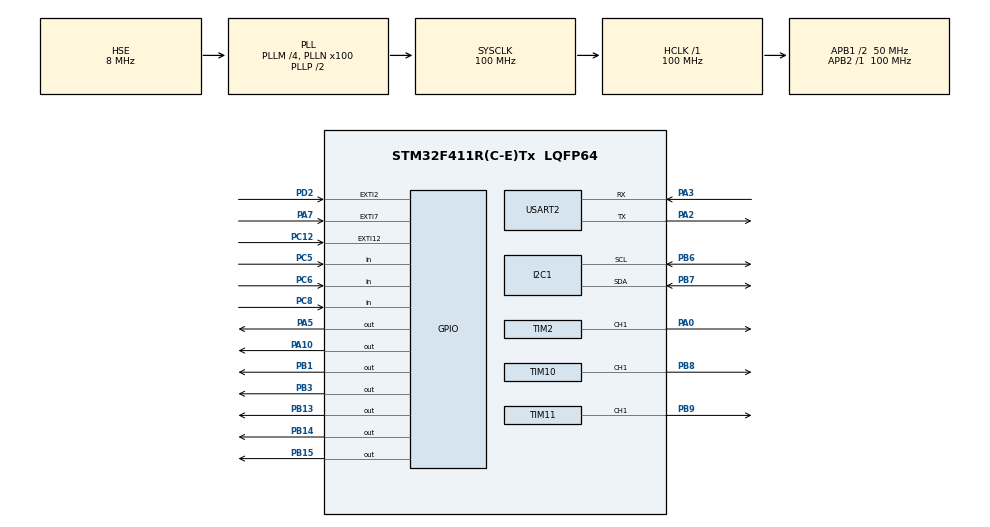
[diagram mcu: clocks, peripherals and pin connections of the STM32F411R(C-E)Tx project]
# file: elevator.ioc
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Mcu.Family=STM32F4
Mcu.Name=STM32F411R(C-E)Tx
Mcu.Package=LQFP64
NVIC.EXTI15_10_IRQn=true\:0\:0\:false\:false\:true\:true\:true\:true
NVIC.EXTI2_IRQn=true\:0\:0\:false\:false\:true\:true\:true\:true
NVIC.EXTI9_5_IRQn=true\:0\:0\:false\:false\:true\:true\:true\:true
NVIC.PriorityGroup=NVIC_PRIORITYGROUP_4
NVIC.TIM1_TRG_COM_TIM11_IRQn=true\:0\:0\:false\:false\:true\:true\:true\:true
NVIC.TIM1_UP_TIM10_IRQn=true\:0\:0\:false\:false\:true\:true\:true\:true
NVIC.TIM2_IRQn=true\:0\:0\:false\:false\:true\:true\:true\:true
NVIC.USART2_IRQn=true\:0\:0\:false\:false\:true\:true\:true\:true
PA0-WKUP.Signal=S_TIM2_CH1_ETR
PA10.Signal=GPIO_Output
PA13.Mode=Serial_Wire
PA13.Signal=SYS_JTMS-SWDIO
PA14.Mode=Serial_Wire
PA14.Signal=SYS_JTCK-SWCLK
PA2.Mode=Asynchronous
PA2.Signal=USART2_TX
PA3.Mode=Asynchronous
PA3.Signal=USART2_RX
PA5.Signal=GPIO_Output
PA7.GPIO_ModeDefaultEXTI=GPIO_MODE_IT_RISING_FALLING
PA7.Signal=GPXTI7
PB1.GPIO_Speed=GPIO_SPEED_FREQ_HIGH
PB1.Signal=GPIO_Output
PB13.GPIO_Speed=GPIO_SPEED_FREQ_HIGH
PB13.Signal=GPIO_Output
PB14.GPIO_Speed=GPIO_SPEED_FREQ_HIGH
PB14.Signal=GPIO_Output
PB15.GPIO_Speed=GPIO_SPEED_FREQ_HIGH
PB15.Signal=GPIO_Output
PB3.Signal=GPIO_Output
PB6.Mode=I2C
PB6.Signal=I2C1_SCL
PB7.Mode=I2C
PB7.Signal=I2C1_SDA
PB8.Signal=S_TIM10_CH1
PB9.Signal=S_TIM11_CH1
PC12.GPIO_ModeDefaultEXTI=GPIO_MODE_IT_RISING_FALLING
PC12.Signal=GPXTI12
PC5.Signal=GPIO_Input
PC6.Signal=GPIO_Input
PC8.Signal=GPIO_Input
PD2.GPIO_ModeDefaultEXTI=GPIO_MODE_IT_RISING_FALLING
PD2.Signal=GPXTI2
PH0\ -\ OSC_IN.Mode=HSE-External-Oscillator
PH0\ -\ OSC_IN.Signal=RCC_OSC_IN
PH1\ -\ OSC_OUT.Mode=HSE-External-Oscillator
PH1\ -\ OSC_OUT.Signal=RCC_OSC_OUT
ProjectManager.HeapSize=0x200
ProjectManager.StackSize=0x400
ProjectManager.TargetToolchain=STM32CubeIDE
RCC.48MHZClocksFreq_Value=50000000
RCC.AHBFreq_Value=100000000
RCC.APB1CLKDivider=RCC_HCLK_DIV2
RCC.APB1Freq_Value=50000000
RCC.APB1TimFreq_Value=100000000
RCC.APB2Freq_Value=100000000
RCC.APB2TimFreq_Value=100000000
RCC.CortexFreq_Value=100000000
RCC.HCLKFreq_Value=100000000
RCC.HSE_VALUE=8000000
RCC.HSI_VALUE=16000000
RCC.LSE_VALUE=32768
RCC.PLLM=4
RCC.PLLN=100
RCC.PLLSourceVirtual=RCC_PLLSOURCE_HSE
RCC.SYSCLKFreq_VALUE=100000000
RCC.SYSCLKSource=RCC_SYSCLKSOURCE_PLLCLK
RCC.VCOOutputFreq_Value=200000000
SH.S_TIM10_CH1.0=TIM10_CH1,PWM Generation1 CH1
SH.S_TIM11_CH1.0=TIM11_CH1,PWM Generation1 CH1
SH.S_TIM2_CH1_ETR.0=TIM2_CH1,PWM Generation1 CH1
TIM10.Channel=TIM_CHANNEL_1
TIM10.Period=5000-1
TIM10.Prescaler=8400-1
TIM11.Channel=TIM_CHANNEL_1
TIM11.Period=1000-1
TIM11.Prescaler=84-1
TIM2.Channel-PWM\ Generation1\ CH1=TIM_CHANNEL_1
TIM2.Period=2000-1
TIM2.Prescaler=1000-1
USART2.VirtualMode=VM_ASYNC
VP_TIM10_VS_ClockSourceINT.Mode=Enable_Timer
VP_TIM11_VS_ClockSourceINT.Mode=Enable_Timer
VP_TIM2_VS_ClockSourceINT.Mode=Internal
board=custom

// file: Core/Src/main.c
/* USER CODE BEGIN Header */
/**
 ******************************************************************************
 * @file           : main.c
 * @brief          : Main program body
 ******************************************************************************
 * @attention
 *
 * Copyright (c) 2025 STMicroelectronics.
 * All rights reserved.
 *
 * This software is licensed under terms that can be found in the LICENSE file
 * in the root directory of this software component.
 * If no LICENSE file comes with this software, it is provided AS-IS.
 *
 ******************************************************************************
 */
/* USER CODE END Header */
#include "main.h"
#include "i2c.h"
#include "tim.h"
#include "usart.h"
#include "gpio.h"

/* USER CODE BEGIN Includes */
#include "stepper.h"
/* USER CODE END Includes */

/* USER CODE BEGIN PD */

//모터 회전방향
#define UP   0
#define DOWN 1

uint8_t arrive_msg = 0; //도착 메세지 출력 플레그용 변수
uint8_t move_msg = 0;//각 층에 도착할 때마다 LCD에 층수 표시할 msg변수
uint8_t moving_elv = 0;//엘리베이터 움직이는 중이라고 LCD 출력용 msg변수

extern uint16_t moter_move_i; //모터 회전 횟수

uint8_t moter_turn = 0; //모터 회전 방향 저장용 변수

uint8_t start_floor_num = 1; //현재 및 시작 층수 저장 변수
uint8_t next_floor_num = 0;  //이동할 층수 저장 변수

uint8_t SB_moter_set = 0;//서보모터 문열림 확인용 변수

/* USER CODE END PD */

void SystemClock_Config(void);
/* USER CODE BEGIN PFP */

void HAL_GPIO_EXTI_Callback(uint16_t GPIO_Pin)
{

  uint8_t arrive_flag = 0;//도착 확인용 flag
  uint16_t pin_num = GPIO_Pin;//핀 번호 저장할 임시 변수

  //포토인터럽트가 발생 할 때 exti2번이 최상위에 있을 때
  //lcd가 계속 초기화 되는 문제
  //그래서 2층인 exti12번을 3층으로 설정해서 최상위로 두고 exti2을
  //2층으로 내렸는데 문제 해결
  //개인적 뇌피셜로는 인터럽트에서 우선순위가 같은 최상위(0번)일 떄
  //가장 빠른 번호 exti가 실행될때 문제 인듯
  //exti1 을 끌고와서 테스트 해보기

  switch(pin_num)
  {

    case GPIO_PIN_12://3층

      //해당 층에 도착했으면
      if(start_floor_num == 3)
      {
        arrive_flag = 1;

      }
      //해당 층에 거쳐가면 층수 변경
      move_msg = 3;
      break;

    case GPIO_PIN_2://2층

      //해당 층에 도착했으면
      if(start_floor_num == 2)
      {
        arrive_flag = 1;

      }
      //해당 층에 거쳐가면 층수 변경
      move_msg = 2;
      break;

    case GPIO_PIN_7://1층

      //해당 층에 도착했으면
      if(start_floor_num == 1)
      {
        arrive_flag = 1;

      }
      //해당 층에 거쳐가면 층수 변경
      move_msg = 1;
      break;

  }

  if(arrive_flag == 1)
  {
    HAL_NVIC_DisableIRQ(EXTI2_IRQn);//pd2끄기
    HAL_NVIC_DisableIRQ(EXTI15_10_IRQn);//pc12끄기
    HAL_NVIC_DisableIRQ(EXTI9_5_IRQn);//pa7끄기

    moter_move_i=0;
    arrive_msg = 1;
    HAL_TIM_Base_Stop_IT(&htim11);
  }

}

void HAL_TIM_PeriodElapsedCallback(TIM_HandleTypeDef *htim)
{
  if (htim->Instance == TIM11)//모터 회전하라는 타이머 플레그가 세워지면
  {
    Tim11_moter_move(moter_turn);//모터 한번 움직임
  }

  if(htim->Instance == TIM10)
  {

    if(SB_moter_set == 0)
    {

    TIM2->CCR1 = 150; // 서보모터 중앙
    SB_moter_set=1;
    }
    else
    {
    TIM2->CCR1 = 50; // 서보모터 -90

    __HAL_TIM_SET_COUNTER(&htim10, 0);
    HAL_TIM_Base_Stop_IT(&htim10);

    SB_moter_set=0;
    }
  }

}

/* USER CODE END PFP */

int main(void)
{

  /* MCU Configuration--------------------------------------------------------*/

  /* Reset of all peripherals, Initializes the Flash interface and the Systick. */
  HAL_Init();

  /* Configure the system clock */
  SystemClock_Config();

  /* Initialize all configured peripherals */
  MX_GPIO_Init();
  MX_USART2_UART_Init();
  MX_TIM11_Init();
  MX_I2C1_Init();
  MX_TIM2_Init();
  MX_TIM10_Init();
  /* USER CODE BEGIN 2 */

  //서보모터 pwm 활성화
  HAL_TIM_PWM_Start(&htim2, TIM_CHANNEL_1);

  //서보모터 딜레이 계산용 10번 타이머 활성화(시스템 딜레이 방지용 타이머)
  HAL_TIM_PWM_Stop(&htim10, TIM_CHANNEL_1);

  //스탭모터 딜레이 계산용 11번 타이머 활성화(시스템 딜레이 방지용 타이머)
  HAL_TIM_PWM_Start(&htim11, TIM_CHANNEL_1);

  LCD_Init();

  moveCusor(0, 0);
  LCD_String("DH elevator");
  moveCusor(1, 0);
  LCD_String("Press The Button");

  HAL_GPIO_WritePin(GPIOB, GPIO_PIN_3, 1);
  HAL_GPIO_WritePin(GPIOA, GPIO_PIN_10, 0);

  //문 초기값 닫힘
  TIM2->CCR1 = 50; // 서보모터 -90

  /* USER CODE END 2 */

  /* Infinite loop */
  /* USER CODE BEGIN WHILE */
  while (1)
  {

    next_floor_num = 0; //이동 층수 초기화

    if(!HAL_GPIO_ReadPin(GPIOC, GPIO_PIN_8))//3층
    {

      next_floor_num = 3; //이동 층수 저장

      if(start_floor_num != next_floor_num)
      {

        //현재 층수 메세지 출력
        //move_msg = 3;

        moter_turn = UP; //시계
        moving_elv = 1;

      }

    }

    if(!HAL_GPIO_ReadPin(GPIOC, GPIO_PIN_6))//2층
    {

      next_floor_num = 2; //이동 층수 저장

      if(start_floor_num != next_floor_num)
      {

        //move_msg = 2;

        if (start_floor_num > 2) // 현재 층이 2층보다 높으면 내려감
        {
          moter_turn = DOWN;
        }
        else if (start_floor_num <= 2) // 현재 층이 2층보다 낮으면 올라감
        {
          moter_turn = UP;
        }

        moving_elv = 1;

      }

    }

    if(!HAL_GPIO_ReadPin(GPIOC, GPIO_PIN_5))//1층
    {

      next_floor_num = 1; //이동 층수 저장

      if(start_floor_num != next_floor_num)
      {

        //move_msg = 1;

        moter_turn = DOWN; //반시계
        moving_elv = 1;

      }

    }

    if(moving_elv==1)
    {
      start_floor_num = next_floor_num; //현재 층수를 이동층수로 갱신

      HAL_NVIC_EnableIRQ(EXTI2_IRQn);//pd2키기
      HAL_NVIC_EnableIRQ(EXTI15_10_IRQn);//pc12키기
      HAL_NVIC_EnableIRQ(EXTI9_5_IRQn);//pa7키기

      moveCusor(1, 0);
      LCD_String("                   "); // 기존 내용 지우기
      moveCusor(1, 0);
      char buffer[20]; // 충분히 큰 크기의 버퍼 (최대 20자)
      sprintf(buffer, "Go to the %dF...", start_floor_num);
      LCD_String(buffer); // 동적으로 생성된 문자열 출력

      HAL_GPIO_WritePin(GPIOB, GPIO_PIN_3, 0);
      HAL_GPIO_WritePin(GPIOA, GPIO_PIN_10, 1);

      SB_moter_set = 1;//서보모터
      //__HAL_TIM_SET_COUNTER(&htim10, 0);
      HAL_TIM_Base_Start_IT(&htim11);
      moving_elv = 0;
    }

    //내가 가고 싶은 층수에 도착 했다면
    if(arrive_msg != 0)
    {
      HAL_GPIO_WritePin(GPIOA, GPIO_PIN_5, 1);//인터럽트 체크용 led

      //TIM2->CCR1 = 150; // 서보모터 -90
      SB_moter_set = 0;
      //__HAL_TIM_SET_COUNTER(&htim10, 0);
      HAL_TIM_Base_Start_IT(&htim10);

      //도착 메세지 출력
      moveCusor(1, 0);
      LCD_String("                   ");
      moveCusor(1, 0);
      LCD_String("Arrive !!");
      arrive_msg = 0;

      HAL_GPIO_WritePin(GPIOB, GPIO_PIN_3, 1);
      HAL_GPIO_WritePin(GPIOA, GPIO_PIN_10, 0);

    }
    else
    {
      HAL_GPIO_WritePin(GPIOA, GPIO_PIN_5, 0);//인터럽트 체크용 led
    }

    //층수가 이동 되었을 때
    if(move_msg != 0)
    {
      //LCD에 층수 표시
      moveCusor(0, 0);
      LCD_String("                   ");
      moveCusor(0, 0);
      LCD_Data('0' + move_msg); // uint8_t 값을 바로 문자로 변환하여 출력
      move_msg = 0;
    }

    /* USER CODE END WHILE */

  }
}

void SystemClock_Config(void)
{
  RCC_OscInitTypeDef RCC_OscInitStruct = {0};
  RCC_ClkInitTypeDef RCC_ClkInitStruct = {0};

  /** Configure the main internal regulator output voltage
  */
  __HAL_RCC_PWR_CLK_ENABLE();
  __HAL_PWR_VOLTAGESCALING_CONFIG(PWR_REGULATOR_VOLTAGE_SCALE1);

  /** Initializes the RCC Oscillators according to the specified parameters
  * in the RCC_OscInitTypeDef structure.
  */
  RCC_OscInitStruct.OscillatorType = RCC_OSCILLATORTYPE_HSE;
  RCC_OscInitStruct.HSEState = RCC_HSE_ON;
  RCC_OscInitStruct.PLL.PLLState = RCC_PLL_ON;
  RCC_OscInitStruct.PLL.PLLSource = RCC_PLLSOURCE_HSE;
  RCC_OscInitStruct.PLL.PLLM = 4;
  RCC_OscInitStruct.PLL.PLLN = 100;
  RCC_OscInitStruct.PLL.PLLP = RCC_PLLP_DIV2;
  RCC_OscInitStruct.PLL.PLLQ = 4;
  if (HAL_RCC_OscConfig(&RCC_OscInitStruct) != HAL_OK)
  {
    Error_Handler();
  }

  /** Initializes the CPU, AHB and APB buses clocks
  */
  RCC_ClkInitStruct.ClockType = RCC_CLOCKTYPE_HCLK|RCC_CLOCKTYPE_SYSCLK
                              |RCC_CLOCKTYPE_PCLK1|RCC_CLOCKTYPE_PCLK2;
  RCC_ClkInitStruct.SYSCLKSource = RCC_SYSCLKSOURCE_PLLCLK;
  RCC_ClkInitStruct.AHBCLKDivider = RCC_SYSCLK_DIV1;
  RCC_ClkInitStruct.APB1CLKDivider = RCC_HCLK_DIV2;
  RCC_ClkInitStruct.APB2CLKDivider = RCC_HCLK_DIV1;

  if (HAL_RCC_ClockConfig(&RCC_ClkInitStruct, FLASH_LATENCY_3) != HAL_OK)
  {
    Error_Handler();
  }
}

void Error_Handler(void)
{
  __disable_irq();
  while (1)
  {
  }
}
